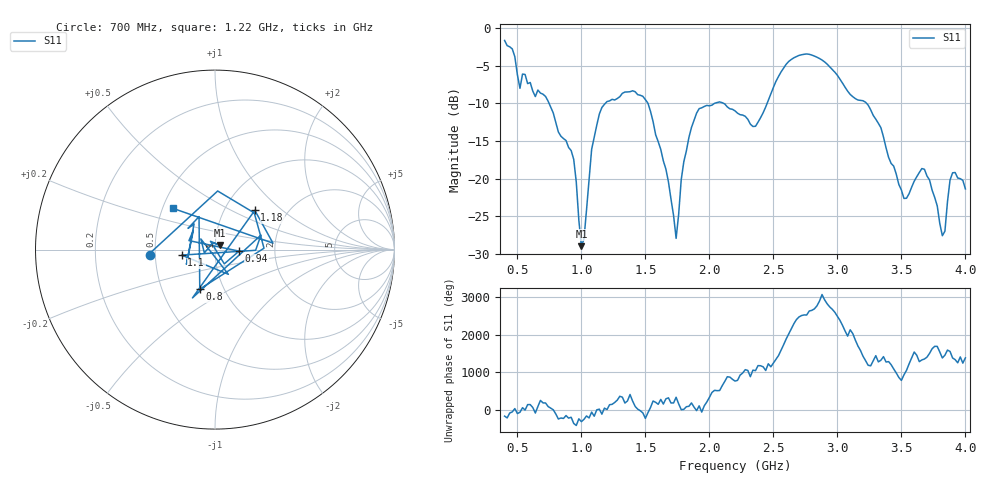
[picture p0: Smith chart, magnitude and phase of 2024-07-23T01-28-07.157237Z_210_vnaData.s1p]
!Created with skrf (http://scikit-rf.org).
# Hz S RI R 50.0
!freq ReS11 ImS11
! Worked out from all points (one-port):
!   181 points, 400 MHz to 4 GHz, reference 50 ohm
!   lowest |S11| = -29.0 dB at 1 GHz (marker M1), VSWR 1.07, Z = 52.5 + j2.65 ohm
!   |S11| at or under -10 dB: 747.5 MHz to 1.187 GHz (439.6 MHz wide, 45.4 % of centre); 1.52 GHz to 2.04 GHz (519.4 MHz wide, 29.2 % of centre); 3.228 GHz to end of sweep (the widest 3 of 4)
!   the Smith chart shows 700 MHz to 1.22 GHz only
!   S11 on the Smith chart (normalised r, x): 700 MHz: 0.47, -0.03; 800 MHz: 0.77, -0.36; 940 MHz: 1.31, -0.02; 1.1 GHz: 0.69, -0.04; 1.18 GHz: 1.38, +0.67; 1.22 GHz: 0.57, +0.29
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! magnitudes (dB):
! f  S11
! 400 MHz  -1.6
! 520 MHz  -8.0
! 700 MHz  -8.8
! 800 MHz  -12.5
! 860 MHz  -14.7
! 940 MHz  -17.4
! 1 GHz  -29.0
! 1.1 GHz  -14.5
! 1.18 GHz  -10.1
! 1.22 GHz  -9.7
! 1.3 GHz  -9.1
! 1.52 GHz  -10.0
! 1.66 GHz  -18.7
! 1.74 GHz  -27.9
! 1.76 GHz  -24.7
! 1.8 GHz  -17.8
! 1.9 GHz  -11.3
! 2.2 GHz  -11.0
! 2.36 GHz  -13.0
! 2.66 GHz  -3.9
! 2.88 GHz  -4.2
! 3.1 GHz  -8.8
! 3.24 GHz  -10.2
! 3.56 GHz  -22.0
! 3.68 GHz  -18.8
! 3.82 GHz  -27.6
! 3.9 GHz  -19.2
! 4 GHz  -21.4
